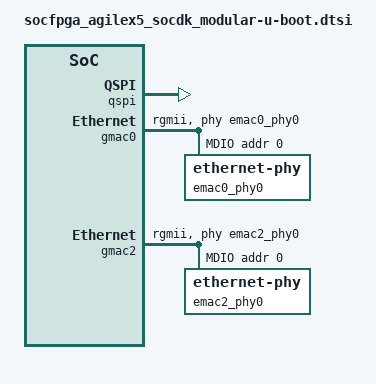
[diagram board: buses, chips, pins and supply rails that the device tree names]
// SPDX-License-Identifier: GPL-2.0+
/*
 * U-Boot additions for Agilex5 SoCDK Modular
 *
 * Copyright (C) 2026 Altera Corporation <www.altera.com>
 */

#include "socfpga_agilex5-u-boot.dtsi"

/{
	aliases {
		spi0 = &qspi;
		freeze_br0 = &freeze_controller;
	};

	soc {
		freeze_controller: freeze_controller@0x20000450 {
			compatible = "altr,freeze-bridge-controller";
			reg = <0x20000450 0x00000010>;
			status = "disabled";
		};
	};

	/*
	 * Both Memory base address and size default info is retrieved from HW setting.
	 * Reconfiguration / Overwrite these info can be done with examples below.
	 *
	 * When LPDDR ECC is enabled, the last 1/8 of the memory region must
	 * be reserved for the Inline ECC buffer.
	 *
	 * Example for memory size with 2GB:
	 * memory {
	 *	reg = <0x0 0x80000000 0x0 0x80000000>;
	 * };
	 *
	 * Example for memory size with 8GB:
	 * memory {
	 *	reg = <0x0 0x80000000 0x0 0x80000000>,
	 *	      <0x8 0x80000000 0x1 0x80000000>;
	 * };
	 *
	 * Example for memory size with 32GB:
	 * memory {
	 *	reg = <0x0 0x80000000 0x0 0x80000000>,
	 *	      <0x8 0x80000000 0x7 0x80000000>;
	 * };
	 *
	 * Example for memory size with 512GB:
	 * memory {
	 *	reg = <0x0 0x80000000 0x0 0x80000000>,
	 *	      <0x8 0x80000000 0x7 0x80000000>,
	 *	      <0x88 0x00000000 0x78 0x00000000>;
	 * };
	 *
	 * Example for memory size with 2GB with LPDDR Inline ECC ON:
	 * memory {
	 *	reg = <0x0 0x80000000 0x0 0x70000000>;
	 * };
	 *
	 * Example for memory size with 8GB with LPDDR Inline ECC ON:
	 * memory {
	 *	reg = <0x0 0x80000000 0x0 0x80000000>,
	 *	      <0x8 0x80000000 0x1 0x40000000>;
	 * };
	 */

	chosen {
		stdout-path = "serial0:115200n8";
		u-boot,spl-boot-order = &mmc,&flash0,"/memory";
	};
};

&flash0 {
	compatible = "jedec,spi-nor";
	spi-tx-bus-width = <4>;
	spi-rx-bus-width = <4>;
	bootph-all;
	/delete-property/ cdns,read-delay;
};

&flash1 {
	bootph-all;
};

&i3c0 {
	status = "disabled";
};

&i3c1 {
	status = "disabled";
};

&qspi {
	status = "okay";
};

&nand {
	status = "disabled";
};

&timer0 {
	bootph-all;
};

&timer1 {
	bootph-all;
};

&timer2 {
	bootph-all;
};

&timer3 {
	bootph-all;
};

&gmac0 {
	status = "okay";
	/* PHY delays is configured via skew properties */
	phy-mode = "rgmii";
	phy-handle = <&emac0_phy0>;

	max-frame-size = <9000>;

	mdio0 {
		#address-cells = <1>;
		#size-cells = <0>;
		compatible = "snps,dwxgmac-mdio";
		emac0_phy0: ethernet-phy@0 {
			reg = <0>;
		};
	};
};

&gmac2 {
	status = "okay";
	/* PHY delays is configured via skew properties */
	phy-mode = "rgmii";
	phy-handle = <&emac2_phy0>;

	max-frame-size = <9000>;

	mdio0 {
		#address-cells = <1>;
		#size-cells = <0>;
		compatible = "snps,dwxgmac-mdio";
		emac2_phy0: ethernet-phy@0 {
			reg = <0>;
		};
	};
};
